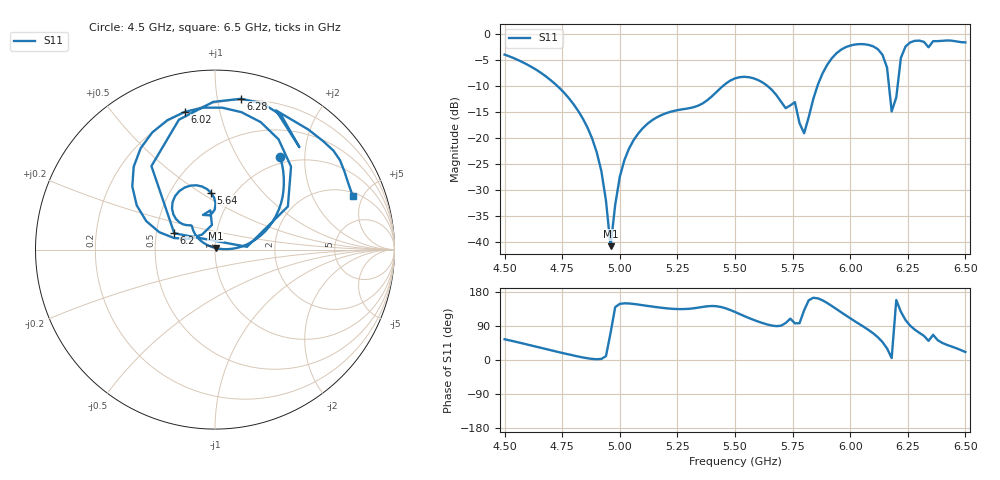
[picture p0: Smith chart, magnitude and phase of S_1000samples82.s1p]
! TOUCHSTONE file generated by CST MICROWAVE STUDIO
! Date and time: Wed Oct 26 22:36:01 2022
! Project name: L.cst
! Parameters = {Di=1.27; Epsilon_r=1.56; InnerDiameter=1.27; Length=2; Lf=10; Lg=60; OuterConductorThickness=0.2921; OuterDiameter=3.6; Wf=3; Wp=41.2; de=1.5; df=6.8; g=0.8; gx=2.6437; gy=2.20001; h=2.34; hf=1.524; px=14.7421; py=9.7604; w=9.7; wx=12.0984; wy=7.56039}
! Header version: 2018
! Port assignment regex: !\s*Touchstone port\s*([0-9]+)\s*=\s*(CST MWS port|CST DS port)\s*([0-9]+|Zmin|Zmax)\s*\(\"(.*)\"\)(\s*mode\s*([0-9]+))?.*
! Touchstone port assignment:
! Touchstone port 1 = CST MWS port 1 ("")
# GHz S DB R 50
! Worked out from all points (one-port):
!   101 points, 4.5 GHz to 6.5 GHz, reference 50 ohm
!   lowest |S11| = -40.8 dB at 4.96 GHz (marker M1), VSWR 1.02, Z = 50.3 + j0.87 ohm
!   |S11| at or under -10 dB: 4.728 GHz to 5.449 GHz (721.8 MHz wide, 14.2 % of centre); 5.64 GHz to 5.858 GHz (218.4 MHz wide, 3.8 % of centre); 6.168 GHz to 6.206 GHz (37.65 MHz wide, 0.609 % of centre)
!   S11 on the Smith chart (normalised r, x): 4.5 GHz: 0.90, +1.53; 5.64 GHz: 0.79, +0.55; 6.02 GHz: 0.20, +0.79; 6.2 GHz: 0.62, +0.12; 6.28 GHz: 0.19, +1.17; 6.5 GHz: 2.27, +4.19
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4.5  -4.03 54.8
4.76  -11.43 17.3
4.9  -22.80 2.0
4.94  -32.07 10.3
4.96  -40.81 71.8
5  -27.48 148.1
5.1  -18.15 144.5
5.26  -14.61 134.3
5.5  -8.59 126.7
5.64  -10.01 93.8
5.76  -13.15 96.8
5.8  -19.13 131.1
5.86  -9.76 162.7
5.92  -4.74 142.7
6  -2.29 110.2
6.02  -2.09 102.4
6.08  -2.16 79.1
6.14  -4.05 47.5
6.16  -6.53 30.6
6.18  -14.94 5.0
6.2  -12.24 158.2
6.22  -4.66 127.3
6.26  -1.69 90.7
6.28  -1.38 80.2
6.34  -2.62 50.5
6.36  -1.45 66.4
6.4  -1.38 45.0
6.5  -1.69 21.1
